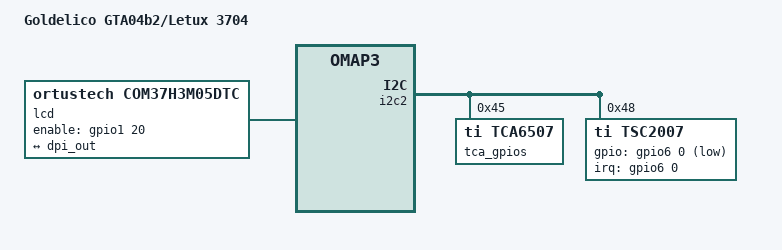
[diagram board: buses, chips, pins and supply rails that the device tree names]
/*
 * Copyright (C) 2014 H. Nikolaus Schaller <hns@goldelico.com>
 *
 * This program is free software; you can redistribute it and/or modify
 * it under the terms of the GNU General Public License version 2 as
 * published by the Free Software Foundation.
 */

/ {
	model = "Goldelico GTA04b2/Letux 3704";

	/* overwrite panel definitions */

	/delete-node/ spi_lcd;

	lcd: lcd {
		compatible =	"ortustech,com37h3m05dtc",
				"ortustech,com37h3m099dtc",
				"panel-dpi";
		label = "lcd";
		enable-gpios = <&gpio1 20 0>;

		panel-timing {
			clock-frequency = <22153000>;

			hback-porch = <10>;
			hactive = <480>;
			hfront-porch = <8>;
			hsync-len = <10>;

			vback-porch = <4>;
			vactive = <640>;
			vfront-porch = <4>;
			vsync-len = <3>;

			hsync-active = <0>;
			vsync-active = <0>;
			de-active = <1>;
			pixelclk-active = <1>;

		};

		port {
			lcd_in: endpoint {
				remote-endpoint = <&dpi_out>;
			};
		};
	};
};

&omap3_pmx_core2 {
	/delete-node/ spi_gpio_pinmux;
};

/* FIXME: add optional TRF7970 */

&bat {
	battery-name = "Letux-7004-battery";
	energy-full-design-microwatt-hours = <14430000>;
	charge-full-design-microamp-hours = <3900000>;
};

&i2c2 {
	/* we have a different set of LEDs */
	tca_gpios: tca6507@45 {
		compatible = "ti,tca6507";
		#address-cells = <1>;
		#size-cells = <0>;
		reg = <0x45>;

		gta04_led0: led@0 {
			compatible = "led";
			label = "gta04:red:aux";
			reg = <0x0>;
		};

		gta04_led1: led@1 {
			compatible = "led";
			label = "gta04:green:power";
			linux,default-trigger = "default-on";
			reg = <0x1>;
		};

		gta04_led3: led@3 {
			reg = <7>;
		};

		gta04_led4: led@4 {
			reg = <7>;
		};

		wifi_reset: led@6 { /* reference as <&tca_gpios 0 0> since it is currently the only GPIO */
			reg = <0x6>;
			compatible = "gpio";
		};

	};

	/* touchscreen */
	tsc2007@48 {
		compatible = "ti,tsc2007";
		reg = <0x48>;
		pinctrl-names = "default";
		pinctrl-0 = <&penirq_pins>;
		interrupt-parent = <&gpio6>;
		interrupts = <0 IRQ_TYPE_EDGE_FALLING>;
		gpios = <&gpio6 0 GPIO_ACTIVE_LOW>;	/* gpio160 */
		ti,x-plate-ohms = <450>;
		touchscreen-size-x = <480>;
		touchscreen-size-y = <800>;
		touchscreen-max-pressure = <1000>;
		touchscreen-fuzz-x = <2>;
		touchscreen-fuzz-y = <2>;
		touchscreen-fuzz-pressure = <10>;
		ti,min-x = <190>;
		ti,max-x = <3900>;
		ti,min-y = <140>;
		ti,max-y = <3900>;
		ti,max-rt = <1000>;
	};

};

/*

// define pinmux for trf7970a_default

&spi1 {
	status = "okay";

	nfc@0 {
		compatible = "ti,trf7970a";
		reg = <0>;
		pinctrl-names = "default";
		pinctrl-0 = <&trf7970a_default>;
		spi-max-frequency = <2000000>;
		interrupt-parent = <&gpio2>;
		interrupts = <14 0>;
		ti,enable-gpios = <&gpio2 2 GPIO_ACTIVE_LOW>,
				  <&gpio2 5 GPIO_ACTIVE_LOW>;
		vin-supply = <&ldo3_reg>;
		vin-voltage-override = <5000000>;
		autosuspend-delay = <30000>;
		irq-status-read-quirk;
		en2-rf-quirk;
		t5t-rmb-extra-byte-quirk;
		status = "okay";
	};
};
*/
